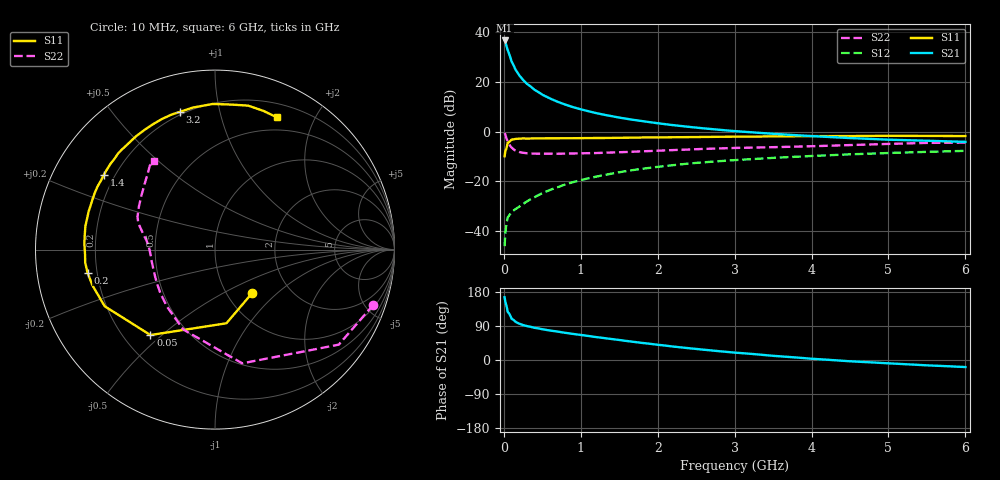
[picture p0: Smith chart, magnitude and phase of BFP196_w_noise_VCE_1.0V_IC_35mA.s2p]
! Infineon Technologies  Discrete & RF Semiconductors
! BFP196
! VCE =  1.0 V,  IC =  35 mA
! Common Emitter S-Parameters:  Jan 2017
# GHz  S  MA  R  50
!  f  S11  S21  S12  S22
! GHz  MAG  ANG  MAG  ANG  MAG  ANG  MAG  ANG
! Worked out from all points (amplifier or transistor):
!   77 points, 10 MHz to 6 GHz, reference 50 ohm
!   highest |S21| = 36.6 dB at 10 MHz (marker M1)
!   |S21| within 3 dB of that: start of sweep to 41.41 MHz
!   unconditionally stable (mu >= 1): 561.9 MHz to 2.722 GHz
!   at 130 MHz: K = 0.56, MSG = 29.0 dB, |S12| = -31.6 dB
!   at 2.2 GHz: K = 1.02, MAG = 7.2 dB, |S12| = -13.5 dB
!   at 6 GHz: K = 0.98, MSG = 1.8 dB, |S12| = -7.7 dB
!   lowest NFmin = 1.28 dB at 450 MHz
!   S11 on the Smith chart (normalised r, x): 10 MHz: 1.31, -0.70; 50 MHz: 0.31, -0.46; 200 MHz: 0.16, -0.09; 1.4 GHz: 0.16, +0.30; 3.2 GHz: 0.18, +0.76; 6 GHz: 0.35, +1.51
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0.01  0.3183 -49.0  67.51 165.6  0.005 77.2  0.9346 -19.2
0.02  0.4154 -81.2  62.84 152.8  0.0096 66.5  0.8695 -37.5
0.05  0.5968 -127.1  43.27 127.1  0.0188 50.6  0.6517 -76.5
0.1  0.6908 -152.8  25.68 109.0  0.0239 45.8  0.4793 -111.6
0.15  0.7113 -163.7  17.77 101.1  0.0277 47.3  0.4156 -130.0
0.2  0.7217 -169.8  13.52 95.9  0.031 50.2  0.3893 -141.5
0.25  0.7268 -174.3  10.88 92.2  0.0352 53.3  0.3751 -149.0
0.3  0.7246 -177.6  9.102 89.5  0.0395 55.8  0.367 -154.8
0.4  0.7286 177.3  6.881 84.9  0.0483 59.0  0.3605 -162.2
0.5  0.7307 173.1  5.509 81.2  0.0578 61.1  0.3586 -167.2
0.6  0.7339 169.6  4.615 77.8  0.0673 62.0  0.3591 -171.0
0.7  0.7333 166.5  3.96 74.9  0.0763 62.9  0.3587 -173.9
0.9  0.7355 160.1  3.09 68.8  0.0965 62.0  0.3629 -178.3
1.1  0.741 154.4  2.558 63.4  0.1152 60.6  0.3686 178.2
1.4  0.7463 146.0  2.041 55.3  0.1429 57.2  0.3802 173.8
1.7  0.7547 137.9  1.706 47.6  0.1705 53.6  0.3953 170.3
2.1  0.7652 127.5  1.407 38.0  0.2035 47.7  0.4188 166.0
3.1  0.7907 106.1  0.996 18.0  0.2728 33.9  0.4721 155.7
3.2  0.7921 104.2  0.972 16.4  0.2785 32.6  0.4753 154.5
4.1  0.8107 89.4  0.797 2.1  0.3283 21.7  0.5129 142.5
5.1  0.8214 75.7  0.68 -9.8  0.375 10.0  0.5705 130.8
6  0.8132 65.0  0.622 -18.6  0.4102 0.1  0.6003 124.3
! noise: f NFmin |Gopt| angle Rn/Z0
0.45  1.28  0.35  173  0.05
0.9  1.44  0.45  -169  0.07
1.9  2.27  0.68  -134  0.27
2.4  2.68  0.71  -121  0.61
